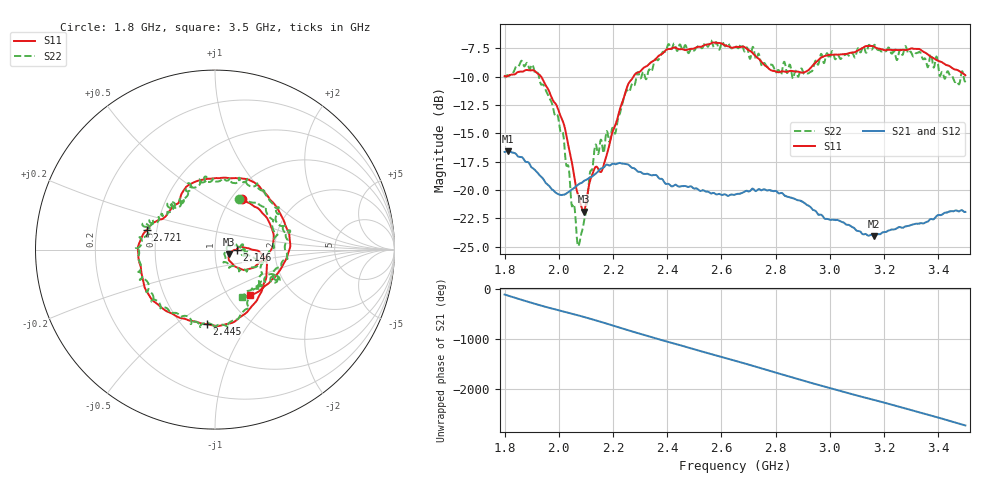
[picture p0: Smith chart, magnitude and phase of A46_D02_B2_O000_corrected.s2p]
! Created with skrf 1.9.0 (http://scikit-rf.org).
# Hz S RI R 50.0
!freq ReS11 ImS11 ReS21 ImS21 ReS12 ImS12 ReS22 ImS22
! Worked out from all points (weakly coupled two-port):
!   1601 points, 1.8 GHz to 3.5 GHz, reference 50 ohm
!   highest |S21| = -16.57 dB at 1.812 GHz (marker M1); lowest = -24.1 dB at 3.163 GHz (marker M2)
!   lowest |S11| = -21.9 dB at 2.091 GHz (marker M3), VSWR 1.17, Z = 58.2 - j2.99 ohm
!   |S11| at or under -10 dB: 1.935 GHz to 2.275 GHz (339.7 MHz wide, 16.1 % of centre)
!   |S22| runs from -25.0 to -6.8 dB; largest |S21 - S12| = 0.0025
!   S11 on the Smith chart (normalised r, x): 1.8 GHz: 1.12, +0.70; 2.146 GHz: 1.28, -0.00; 2.445 GHz: 0.65, -0.66; 2.721 GHz: 0.44, +0.12; 3.5 GHz: 1.26, -0.72
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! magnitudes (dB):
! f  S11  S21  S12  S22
! 1.8 GHz  -9.9  -16.6  -16.6  -10.1
! 1.812 GHz  -9.9  -16.6  -16.6  -9.9
! 1.902 GHz  -9.4  -18.0  -18.0  -8.9
! 1.966 GHz  -11.4  -19.7  -19.8  -11.9
! 2.014 GHz  -13.9  -20.4  -20.4  -14.9
! 2.071 GHz  -20.4  -19.5  -19.6  -25.0
! 2.084 GHz  -21.5  -19.4  -19.3  -23.8
! 2.091 GHz  -21.9  -19.2  -19.3  -23.0
! 2.129 GHz  -18.2  -18.7  -18.7  -16.9
! 2.146 GHz  -18.2  -18.3  -18.3  -16.8
! 2.209 GHz  -14.2  -17.7  -17.7  -15.0
! 2.258 GHz  -10.6  -17.8  -17.8  -11.3
! 2.367 GHz  -8.2  -18.9  -18.9  -8.5
! 2.445 GHz  -7.6  -19.7  -19.7  -7.2
! 2.65 GHz  -7.4  -20.4  -20.4  -7.3
! 2.721 GHz  -8.1  -20.0  -19.9  -7.8
! 2.805 GHz  -9.6  -20.2  -20.2  -9.5
! 2.934 GHz  -9.1  -21.7  -21.6  -9.5
! 3.163 GHz  -7.3  -24.1  -24.0  -7.2
! 3.217 GHz  -7.6  -23.6  -23.6  -7.4
! 3.329 GHz  -7.5  -23.0  -23.0  -7.8
! 3.5 GHz  -9.9  -21.9  -21.9  -10.4
